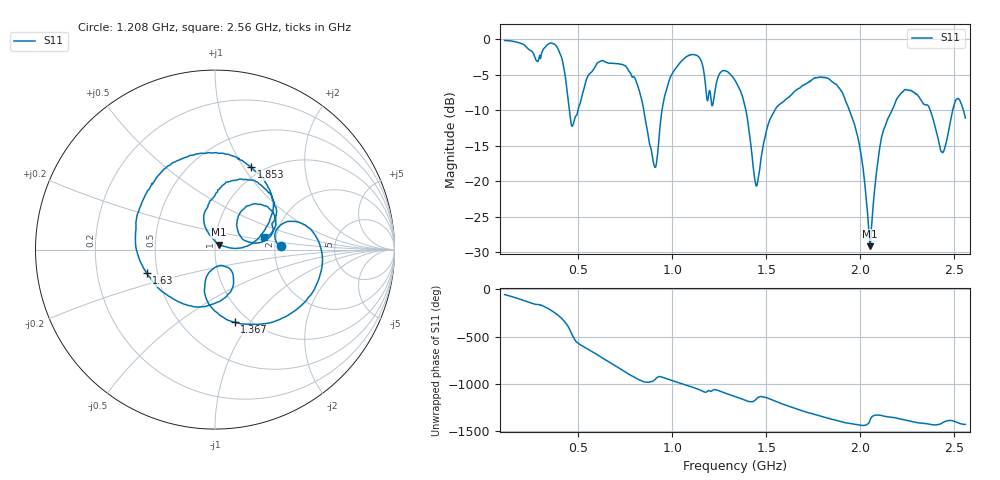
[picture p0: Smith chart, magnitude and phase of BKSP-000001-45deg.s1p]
# MHz S MA R 50
!  freq  S11
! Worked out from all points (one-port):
!   1000 points, 108 MHz to 2.56 GHz, reference 50 ohm
!   lowest |S11| = -29.1 dB at 2.052 GHz (marker M1), VSWR 1.07, Z = 52 + j2.94 ohm
!   |S11| at or under -10 dB: 1.392 GHz to 1.546 GHz (153.5 MHz wide, 10.5 % of centre); 1.943 GHz to 2.17 GHz (227.2 MHz wide, 11 % of centre); 2.373 GHz to 2.492 GHz (119.3 MHz wide, 4.9 % of centre)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
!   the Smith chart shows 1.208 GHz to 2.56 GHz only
!   S11 on the Smith chart (normalised r, x): 1.208 GHz: 2.15, +0.09; 1.367 GHz: 0.86, -0.85; 1.63 GHz: 0.44, -0.14; 1.853 GHz: 0.88, +1.08; 2.56 GHz: 1.72, +0.26
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108  0.9829 -55.8
196.3604  0.937 -109.1
326.4464  0.892 170.2
377.99  0.9134 107.5
414.8068  0.7168 46.0
454.0781  0.3072 -63.8
495.8038  0.3048 155.9
564.5285  0.5805 70.2
630.7988  0.707 -7.8
721.6136  0.6706 -117.3
760.8849  0.626 -167.7
812.4284  0.4903 136.1
908.1522  0.1256 126.8
1028.42  0.6492 97.8
1136.416  0.7614 26.6
1207.596  0.3664 2.7
1335.227  0.5129 -52.5
1367.135  0.4195 -74.9
1448.132  0.09246 -76.7
1629.762  0.4027 -161.1
1642.034  0.4187 -169.4
1853.117  0.5017 66.3
1948.841  0.3014 21.9
2051.928  0.0349 54.1
2120.653  0.2232 103.9
2255.648  0.4388 51.9
2437.277  0.16 30.6
2560  0.2791 14.4
